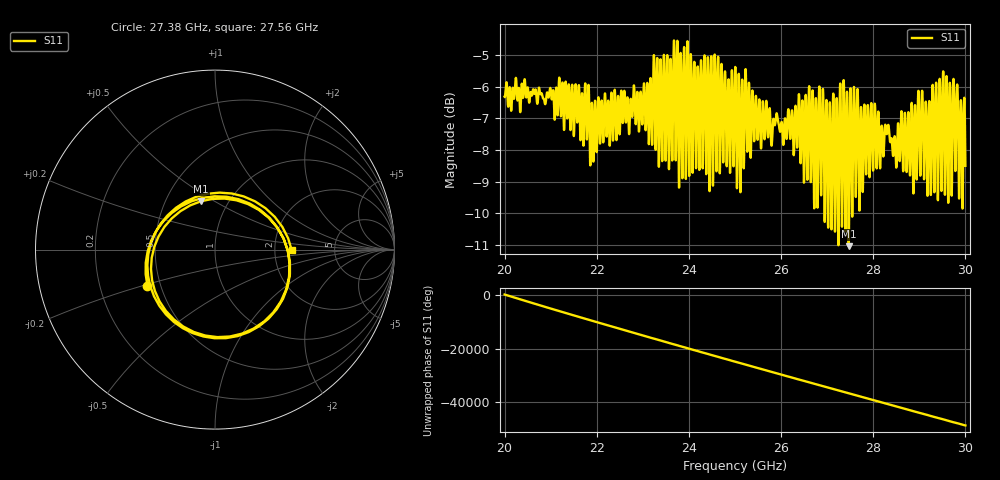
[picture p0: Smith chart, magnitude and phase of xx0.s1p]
#  HZ  S  RI  R  50.00
! Rohde & Schwarz ZVA40 4Ports - Version 3.90 - 1145.1110k42 SN: 100403
! Date: 2023-09-28 11:55:32
! Measurement: S22
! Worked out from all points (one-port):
!   5001 points, 20 GHz to 30 GHz, reference 50 ohm
!   lowest |S11| = -11.0 dB at 27.47 GHz (marker M1), VSWR 1.78, Z = 37.4 + j21.9 ohm
!   |S11| at or under -10 dB: 27.08753 GHz to 27.10064 GHz (13.11 MHz wide, 0.0484 % of centre); 27.2351 GHz to 27.25305 GHz (17.94 MHz wide, 0.0659 % of centre); 27.45897 GHz to 27.47638 GHz (17.41 MHz wide, 0.0634 % of centre)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
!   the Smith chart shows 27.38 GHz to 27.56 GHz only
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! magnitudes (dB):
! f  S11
! 20 GHz  -6.3
! 21.25 GHz  -5.9
! 21.89 GHz  -6.5
! 22.5 GHz  -7.5
! 23.6 GHz  -5.1
! 23.71 GHz  -8.3
! 23.75 GHz  -4.6
! 24.3 GHz  -8.5
! 24.48 GHz  -5.0
! 24.6 GHz  -8.7
! 25 GHz  -5.6
! 26.25 GHz  -7.0
! 26.65 GHz  -9.0
! 26.76 GHz  -6.4
! 26.87 GHz  -9.4
! 27.21 GHz  -6.4
! 27.32 GHz  -10.4
! 27.43 GHz  -6.2
! 27.47 GHz  -11.0
! 27.5 GHz  -6.1
! 27.62 GHz  -9.4
! 27.73 GHz  -6.6
! 27.85 GHz  -8.8
! 28.75 GHz  -7.2
! 29.55 GHz  -9.4
! 29.67 GHz  -5.9
! 29.78 GHz  -8.6
! 30 GHz  -8.5
